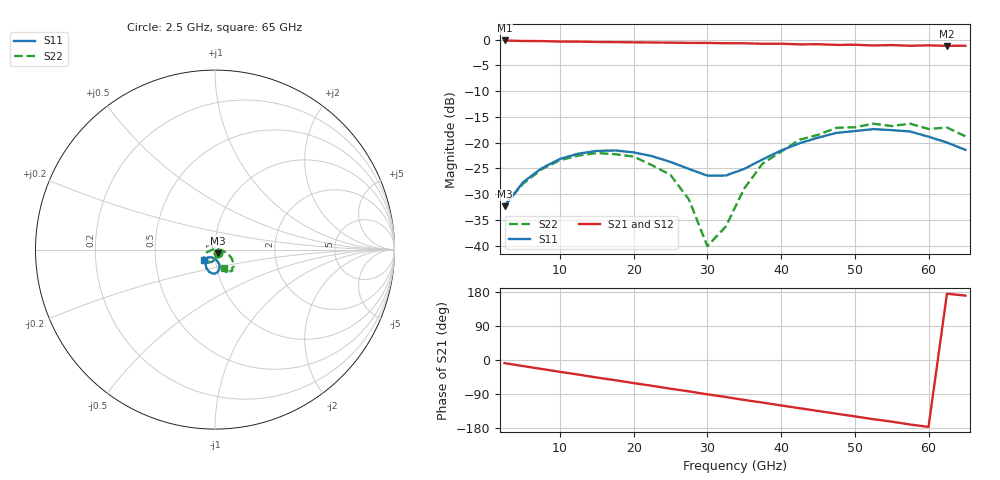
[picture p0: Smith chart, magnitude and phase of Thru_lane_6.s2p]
! File created by SignalIntegrity v1.5.1: Signal and Power Integrity Tools
! https://github.com/Nubis-Communications/SignalIntegrity
# MHz S MA R 50.0
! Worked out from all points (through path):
!   26 points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, 2.5 GHz to 65 GHz, reference 50 ohm
!   highest |S21| = -0.16 dB at 2.5 GHz (marker M1); lowest = -1.2 dB at 62.5 GHz (marker M2)
!   group delay of S21, straight-line fit = 8.12 ps
!   lowest |S11| = -32.4 dB at 2.5 GHz (marker M3), VSWR 1.05, Z = 51.5 - j1.89 ohm
!   |S11| at or under -10 dB: start of sweep to end of sweep
!   |S22| runs from -40.1 to -16.3 dB; largest |S21 - S12| = 0.022
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2500  0.02402 -49.6  0.9815 -8.3  0.9793 -8.2  0.02472 -48.1
5000  0.04124 -76.2  0.9698 -16.0  0.9721 -16.0  0.03987 -79.3
7500  0.05613 -92.1  0.9678 -23.6  0.9656 -23.7  0.05497 -92.2
10000  0.06942 -103.3  0.9574 -31.2  0.9593 -31.2  0.06746 -107.4
15000  0.08307 -120.2  0.9487 -46.2  0.9498 -46.1  0.07926 -127.4
20000  0.08035 -131.1  0.9414 -61.0  0.9418 -60.8  0.07319 -144.9
25000  0.0649 -133.8  0.9349 -75.8  0.9343 -75.6  0.04857 -161.4
27500  0.05547 -129.2  0.9298 -82.9  0.9311 -83.1  0.02801 -167.9
30000  0.04779 -115.9  0.9289 -90.6  0.9275 -90.4  0.009867 172.7
32500  0.04791 -100.6  0.9216 -97.7  0.9241 -97.9  0.01531 0.6
35000  0.05553 -84.6  0.9213 -105.4  0.9189 -105.3  0.0358 -4.5
37500  0.06878 -77.2  0.9113 -112.5  0.9146 -112.6  0.06267 -14.5
42500  0.09851 -75.1  0.8991 -127.2  0.9045 -127.3  0.1066 -28.2
45000  0.1115 -77.6  0.9017 -134.4  0.898 -134.4  0.1188 -34.0
47500  0.1242 -82.5  0.8892 -141.7  0.8945 -141.6  0.1393 -41.0
50000  0.1295 -85.9  0.8917 -148.8  0.8875 -148.9  0.1409 -47.1
52500  0.1351 -92.4  0.877 -156.1  0.8838 -155.8  0.1526 -51.5
55000  0.1322 -98.0  0.8848 -162.6  0.8801 -163.0  0.1448 -56.7
57500  0.1281 -104.9  0.8717 -170.2  0.8774 -169.9  0.1526 -59.5
60000  0.1141 -114.9  0.8796 -176.4  0.8769 -177.1  0.1356 -64.1
62500  0.1001 -121.1  0.8698 174.9  0.8747 175.8  0.1402 -62.4
65000  0.08512 -138.1  0.8722 170.0  0.8708 168.5  0.115 -63.1
